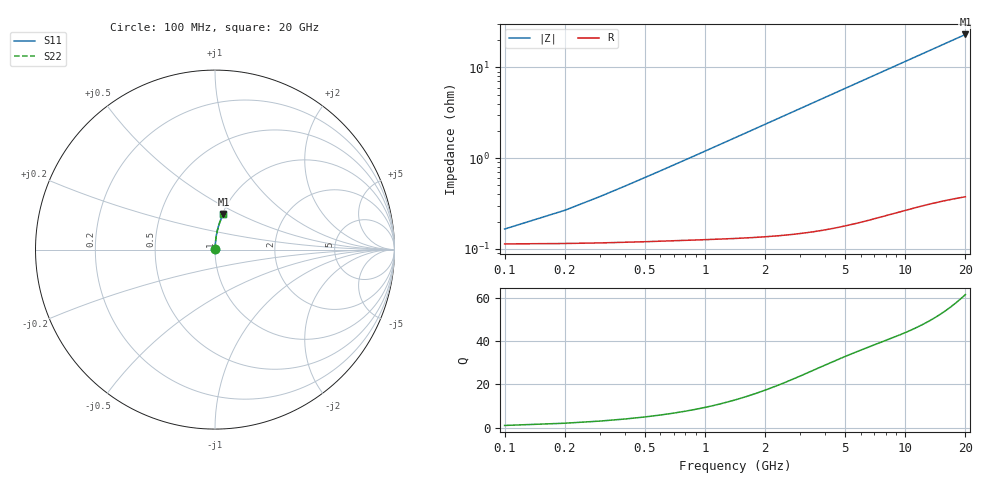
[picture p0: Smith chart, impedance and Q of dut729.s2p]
! Touchstone file exported from HFSS 2024.1.0
!  File:  C:/UserFiles/LocalFiles/RDL_TSV_Batchsim/temp_RDL_bottom_729_1779858789.aedt
!  Generated:  01:15:51 PM May 27, 2026
!  Design:  RDL_bottom
!  Project:  temp_RDL_bottom_729_1779858789
!  Setup:  Setup1
!  Solution:  Sweep
! Variables:
!  dtsv = 10.80580581um
!  hbump = 3um
!  htsv = 67.31um
!  ldown = 119.53um
!  lrdl = 100um
!  p = 40
!  p1 = 58.93um
!  rhole = 1um
!  t = 450um
!  tdown = 3.94um
!  trdl = 3.915915916um
!  wdown = 10.82um
!  wrdl = 20um
# GHz S MA R 50.000000
! Terminal data exported
! Port[1] = RDL1_T1
! Port[2] = RDL1_T2
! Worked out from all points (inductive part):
!   200 points, 100 MHz to 20 GHz, reference 50 ohm
!   read as one part in series: L = 190 pH near 300 MHz
!   highest Q = 61.6 at 20 GHz (marker M1), where L = 184 pH
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0.1  0.00154 42.7  0.9989 -0.1  0.9989 -0.1  0.00154 42.7
! Gamma 0 0 0 0
! Port Impedance 50 0 50 0
0.2  0.002378 61.2  0.9989 -0.2  0.9989 -0.2  0.002378 61.2
0.3  0.003327 69.5  0.9988 -0.2  0.9988 -0.2  0.003327 69.5
0.4  0.00431 74.0  0.9988 -0.3  0.9988 -0.3  0.00431 74.0
0.5  0.005305 76.8  0.9988 -0.4  0.9988 -0.4  0.005305 76.8
0.6  0.006306 78.7  0.9987 -0.5  0.9987 -0.5  0.006306 78.7
0.8  0.008317 81.1  0.9987 -0.6  0.9987 -0.6  0.008317 81.1
1.1  0.01135 83.1  0.9986 -0.8  0.9986 -0.8  0.01135 83.1
1.5  0.01541 84.5  0.9984 -1.1  0.9984 -1.1  0.01541 84.5
1.8  0.01846 85.1  0.9983 -1.4  0.9983 -1.4  0.01846 85.1
2.1  0.02151 85.5  0.9981 -1.6  0.9981 -1.6  0.02151 85.5
2.7  0.02764 85.9  0.9977 -2.1  0.9977 -2.1  0.02764 85.9
3.5  0.03582 86.0  0.9971 -2.7  0.9971 -2.7  0.03582 86.0
4.2  0.043 86.0  0.9964 -3.2  0.9964 -3.2  0.043 86.0
5  0.05123 85.8  0.9955 -3.8  0.9955 -3.8  0.05123 85.8
5.9  0.0605 85.4  0.9944 -4.4  0.9944 -4.4  0.0605 85.4
6.8  0.06979 85.0  0.9932 -5.1  0.9932 -5.1  0.06979 85.0
8.3  0.08529 84.2  0.991 -6.2  0.991 -6.2  0.08529 84.2
10.1  0.1039 83.2  0.988 -7.5  0.988 -7.5  0.1039 83.2
13.4  0.1378 81.1  0.9821 -9.8  0.9821 -9.8  0.1378 81.1
16.7  0.1713 78.8  0.9754 -12.0  0.9754 -12.0  0.1713 78.8
20  0.2041 76.6  0.968 -14.2  0.968 -14.2  0.2041 76.6
